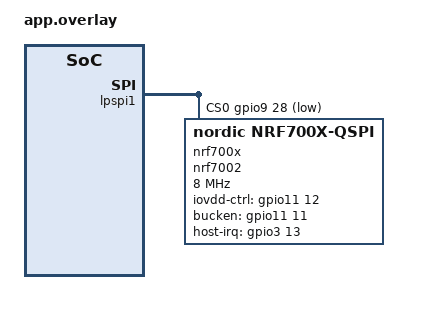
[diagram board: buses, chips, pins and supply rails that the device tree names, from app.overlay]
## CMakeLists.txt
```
# SPDX-License-Identifier: Apache-2.0

cmake_minimum_required(VERSION 3.20.0)

find_package(Zephyr REQUIRED HINTS $ENV{ZEPHYR_BASE})
project(wifi)

FILE(GLOB app_sources src/*.c)
target_sources(app PRIVATE ${app_sources})
set(CMAKE_C_FLAGS "${CMAKE_C_FLAGS} -Werror")
```

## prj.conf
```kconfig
CONFIG_EARLY_CONSOLE=y

CONFIG_NETWORKING=y
CONFIG_TEST_RANDOM_GENERATOR=y

CONFIG_MAIN_STACK_SIZE=5200
CONFIG_SHELL_STACK_SIZE=5200
CONFIG_NET_TX_STACK_SIZE=2048
CONFIG_NET_RX_STACK_SIZE=2048

CONFIG_NET_BUF_DATA_SIZE=1100
CONFIG_NET_PKT_RX_COUNT=10
CONFIG_NET_PKT_TX_COUNT=10
CONFIG_NET_BUF_RX_COUNT=20
CONFIG_NET_BUF_TX_COUNT=20
CONFIG_NET_MAX_CONTEXTS=10
CONFIG_NET_DHCPV4=y

CONFIG_NET_IPV4=y
CONFIG_NET_IPV6=n

CONFIG_NET_TCP=y

CONFIG_NET_LOG=y
CONFIG_INIT_STACKS=y

CONFIG_NET_SHELL=y

CONFIG_NET_STATISTICS=y
CONFIG_NET_STATISTICS_PERIODIC_OUTPUT=n

CONFIG_WIFI=y
CONFIG_WIFI_LOG_LEVEL_ERR=y
CONFIG_NET_L2_WIFI_SHELL=y
# printing of scan results puts pressure on queues in new locking
# design in net_mgmt. So, use a higher timeout for a crowded
# environment.
CONFIG_NET_MGMT_EVENT_QUEUE_TIMEOUT=5000
CONFIG_NET_MGMT_EVENT_QUEUE_SIZE=16

CONFIG_LOG_MODE_IMMEDIATE=y
CONFIG_WIFI_NM_WPA_SUPPLICANT_LOG_LEVEL_DBG=y
# default is libc heap
#CONFIG_MBEDTLS_ENABLE_HEAP=y
#CONFIG_MBEDTLS_HEAP_SIZE=55000
```

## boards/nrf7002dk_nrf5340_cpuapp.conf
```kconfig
CONFIG_WIFI=y
CONFIG_WIFI_NRF700X=y
CONFIG_HEAP_MEM_POOL_SIZE=153600
CONFIG_WIFI_NM_WPA_SUPPLICANT=y
CONFIG_WIFI_NM_WPA_SUPPLICANT_CRYPTO=y
#CONFIG_MBEDTLS_BUILTIN=y
#CONFIG_WIFI_NM_WPA_SUPPLICANT_CRYPTO_NONE=y

# from nrf/samples/wifi/shell/prj.conf
# Networking
CONFIG_NETWORKING=y
CONFIG_NET_SOCKETS=y
CONFIG_NET_LOG=y
CONFIG_NET_IPV6=y
CONFIG_NET_IPV4=y
CONFIG_NET_UDP=y
CONFIG_NET_TCP=y
CONFIG_NET_DHCPV4=y
CONFIG_DNS_RESOLVER=y

CONFIG_NET_STATISTICS=y
CONFIG_NET_STATISTICS_WIFI=y
CONFIG_NET_STATISTICS_USER_API=y

CONFIG_NET_PKT_RX_COUNT=8
CONFIG_NET_PKT_TX_COUNT=8

# Below section is the primary contributor to SRAM and is currently
# tuned for performance, but this will be revisited in the future.
CONFIG_NET_BUF_RX_COUNT=16
CONFIG_NET_BUF_TX_COUNT=16
CONFIG_NET_BUF_DATA_SIZE=128
CONFIG_NRF700X_RX_NUM_BUFS=16
CONFIG_NRF700X_MAX_TX_AGGREGATION=4
# nRF700x is main consumer: (16 + 8) * 1600 = ~40KB + ~40KB control path (experimental)
CONFIG_HEAP_MEM_POOL_SIZE=80000
CONFIG_NET_TC_TX_COUNT=1

CONFIG_NET_IF_UNICAST_IPV6_ADDR_COUNT=4
CONFIG_NET_IF_MCAST_IPV6_ADDR_COUNT=5
CONFIG_NET_MAX_CONTEXTS=5
CONFIG_NET_CONTEXT_SYNC_RECV=y

CONFIG_INIT_STACKS=y

CONFIG_NET_L2_ETHERNET=y
CONFIG_NET_SHELL=y

# Memories
CONFIG_MAIN_STACK_SIZE=4200
CONFIG_SHELL_STACK_SIZE=4400

CONFIG_NET_TX_STACK_SIZE=4096
CONFIG_NET_RX_STACK_SIZE=4096

# Debugging
CONFIG_STACK_SENTINEL=y
CONFIG_DEBUG_COREDUMP=y
CONFIG_DEBUG_COREDUMP_BACKEND_LOGGING=y
CONFIG_DEBUG_COREDUMP_MEMORY_DUMP_MIN=y
CONFIG_SHELL_CMDS_RESIZE=n
#CONFIG_DEBUG=y
#CONFIG_WPA_SUPP_LOG_LEVEL_INF=y

# Kernel options
CONFIG_REBOOT=y

# Logging
CONFIG_LOG=y
CONFIG_PRINTK=y
CONFIG_SHELL=y
CONFIG_SHELL_GETOPT=y
CONFIG_DEVICE_SHELL=y
CONFIG_POSIX_CLOCK_SELECTION=y
CONFIG_DATE_SHELL=y
CONFIG_NET_CONFIG_AUTO_INIT=n
CONFIG_POSIX_TIMERS=y
#CONFIG_POSIX_API=y

# printing of scan results puts pressure on queues in new locking
# design in net_mgmt. So, use a higher timeout for a crowded
# environment.
CONFIG_NET_MGMT_EVENT_QUEUE_TIMEOUT=5000
CONFIG_NET_SOCKETS_POLL_MAX=12
CONFIG_NET_MGMT_EVENT_QUEUE_SIZE=16
```

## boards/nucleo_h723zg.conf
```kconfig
CONFIG_WIFI=y
CONFIG_WIFI_NRF700X=y
CONFIG_HEAP_MEM_POOL_SIZE=153600
CONFIG_WIFI_NM_WPA_SUPPLICANT=y
CONFIG_WIFI_NM_WPA_SUPPLICANT_CRYPTO=y


# from nrf/samples/wifi/shell/prj.conf
# Networking
CONFIG_NETWORKING=y
CONFIG_NET_SOCKETS=y
CONFIG_NET_LOG=y
CONFIG_NET_IPV6=y
CONFIG_NET_IPV4=y
CONFIG_NET_UDP=y
CONFIG_NET_TCP=y
CONFIG_NET_DHCPV4=y
CONFIG_DNS_RESOLVER=y

CONFIG_NET_STATISTICS=y
CONFIG_NET_STATISTICS_WIFI=y
CONFIG_NET_STATISTICS_USER_API=y

CONFIG_NET_PKT_RX_COUNT=8
CONFIG_NET_PKT_TX_COUNT=8

# Below section is the primary contributor to SRAM and is currently
# tuned for performance, but this will be revisited in the future.
CONFIG_NET_BUF_RX_COUNT=16
CONFIG_NET_BUF_TX_COUNT=16
CONFIG_NET_BUF_DATA_SIZE=128
CONFIG_NRF700X_RX_NUM_BUFS=16
CONFIG_NRF700X_MAX_TX_AGGREGATION=4
# nRF700x is main consumer: (16 + 8) * 1600 = ~40KB + ~40KB control path (experimental)
CONFIG_HEAP_MEM_POOL_SIZE=80000
CONFIG_NET_TC_TX_COUNT=1

CONFIG_NET_IF_UNICAST_IPV6_ADDR_COUNT=4
CONFIG_NET_IF_MCAST_IPV6_ADDR_COUNT=5
CONFIG_NET_MAX_CONTEXTS=5
CONFIG_NET_CONTEXT_SYNC_RECV=y

CONFIG_INIT_STACKS=y

CONFIG_NET_L2_ETHERNET=y
CONFIG_NET_SHELL=y

# Memories
CONFIG_MAIN_STACK_SIZE=5200
CONFIG_SHELL_STACK_SIZE=5200
CONFIG_NET_MGMT_EVENT_STACK_SIZE=5200
CONFIG_NET_TX_STACK_SIZE=4096
CONFIG_NET_RX_STACK_SIZE=4096

# Debugging
CONFIG_STACK_SENTINEL=y
CONFIG_DEBUG_COREDUMP=y
CONFIG_DEBUG_COREDUMP_BACKEND_LOGGING=y
CONFIG_DEBUG_COREDUMP_MEMORY_DUMP_MIN=y
CONFIG_SHELL_CMDS_RESIZE=n
#CONFIG_DEBUG=y
#CONFIG_WPA_SUPP_LOG_LEVEL_INF=y

# Kernel options
CONFIG_REBOOT=y

# Logging
CONFIG_LOG=y
CONFIG_PRINTK=y
CONFIG_SHELL=y
CONFIG_SHELL_GETOPT=y
CONFIG_DEVICE_SHELL=y
CONFIG_POSIX_CLOCK_SELECTION=y
CONFIG_DATE_SHELL=y
CONFIG_NET_CONFIG_AUTO_INIT=n
CONFIG_POSIX_TIMERS=y
#CONFIG_POSIX_API=y

# printing of scan results puts pressure on queues in new locking
# design in net_mgmt. So, use a higher timeout for a crowded
# environment.
CONFIG_NET_MGMT_EVENT_QUEUE_TIMEOUT=5000
CONFIG_NET_SOCKETS_POLL_MAX=20
CONFIG_POSIX_MAX_FDS=20
CONFIG_NET_MGMT_EVENT_QUEUE_SIZE=16
```

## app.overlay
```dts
#include <freq.h>

/ {
	nordic_wlan0: nordic_wlan0 {
		compatible = "nordic,wlan0";
		status = "okay";
	};

	chosen {
		zephyr,wifi = &nordic_wlan0;
	};

	nrf70_tx_power_ceiling: nrf70_tx_power_ceiling_node {
		status = "okay";
		compatible = "nordic,nrf700x-tx-power-ceiling";
		max-pwr-2g-dsss = <0x54>;
		max-pwr-2g-mcs0 = <0x40>;
		max-pwr-2g-mcs7 = <0x40>;
		max-pwr-5g-low-mcs0 = <0x34>;
		max-pwr-5g-low-mcs7 = <0x34>;
		max-pwr-5g-mid-mcs0 = <0x34>;
		max-pwr-5g-mid-mcs7 = <0x34>;
		max-pwr-5g-high-mcs0 = <0x30>;
		max-pwr-5g-high-mcs7 = <0x30>;
	};
};

&pinctrl{
	pinmux_lpspi1: pinmux_lpspi1 {
		group0 {
			pinmux = <&iomuxc_gpio_ad_28_lpspi1_sck>,
				<&iomuxc_gpio_ad_31_lpspi1_sdi>,
				<&iomuxc_gpio_ad_30_lpspi1_sdo>,
				<&iomuxc_gpio_ad_07_gpio9_io06>,
				<&iomuxc_gpio_ad_01_gpio9_io00>;
			drive-strength = "high";
			slew-rate = "fast";
		};
	};
};

&lpspi1 {
	/* enable interface, use default pin mappings */
	status = "okay";
	cs-gpios = <&gpio9 28 GPIO_ACTIVE_LOW>;
	nrf700x: nrf7002@0 {
		compatible = "nordic,nrf700x-qspi";
		status = "okay";
		reg = <0>;
		spi-max-frequency = <DT_FREQ_M(8)>;

		iovdd-ctrl-gpios = <&gpio11 12 (GPIO_ACTIVE_HIGH | GPIO_PULL_DOWN)>; /* GPIO DISP_B2_11 - Port 11, Pin 12 */
		bucken-gpios = <&gpio11 11 (GPIO_ACTIVE_HIGH | GPIO_PULL_DOWN)>; /* GPIO DISP_B2_10 - Port 11, Pin 12 */
		host-irq-gpios = <&gpio3 13 GPIO_ACTIVE_HIGH>;     /* GPIO AD_14 - Port 3, Pin 13 */
	};
};
```

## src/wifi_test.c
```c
/*
 * Copyright (c) 2016 Intel Corporation.
 *
 * SPDX-License-Identifier: Apache-2.0
 */

#include <zephyr/kernel.h>
#include <errno.h>

int main(void)
{
#ifdef CONFIG_NET_CONFIG_SETTINGS
	/* Without this, DHCPv4 starts on first interface and if that is not Wi-Fi or
	 * only supports IPv6, then its an issue. (E.g., OpenThread)
	 *
	 * So, we start DHCPv4 on Wi-Fi interface always, independent of the ordering.
	 */
	const struct device *dev = DEVICE_DT_GET(DT_CHOSEN(zephyr_wifi));
	struct net_if *wifi_iface = net_if_lookup_by_dev(dev);

	/* As both are Ethernet, we need to set specific interface*/
	net_if_set_default(wifi_iface);

	net_config_init_app(dev, "Initializing network");
#endif
	return 0;
}
```
